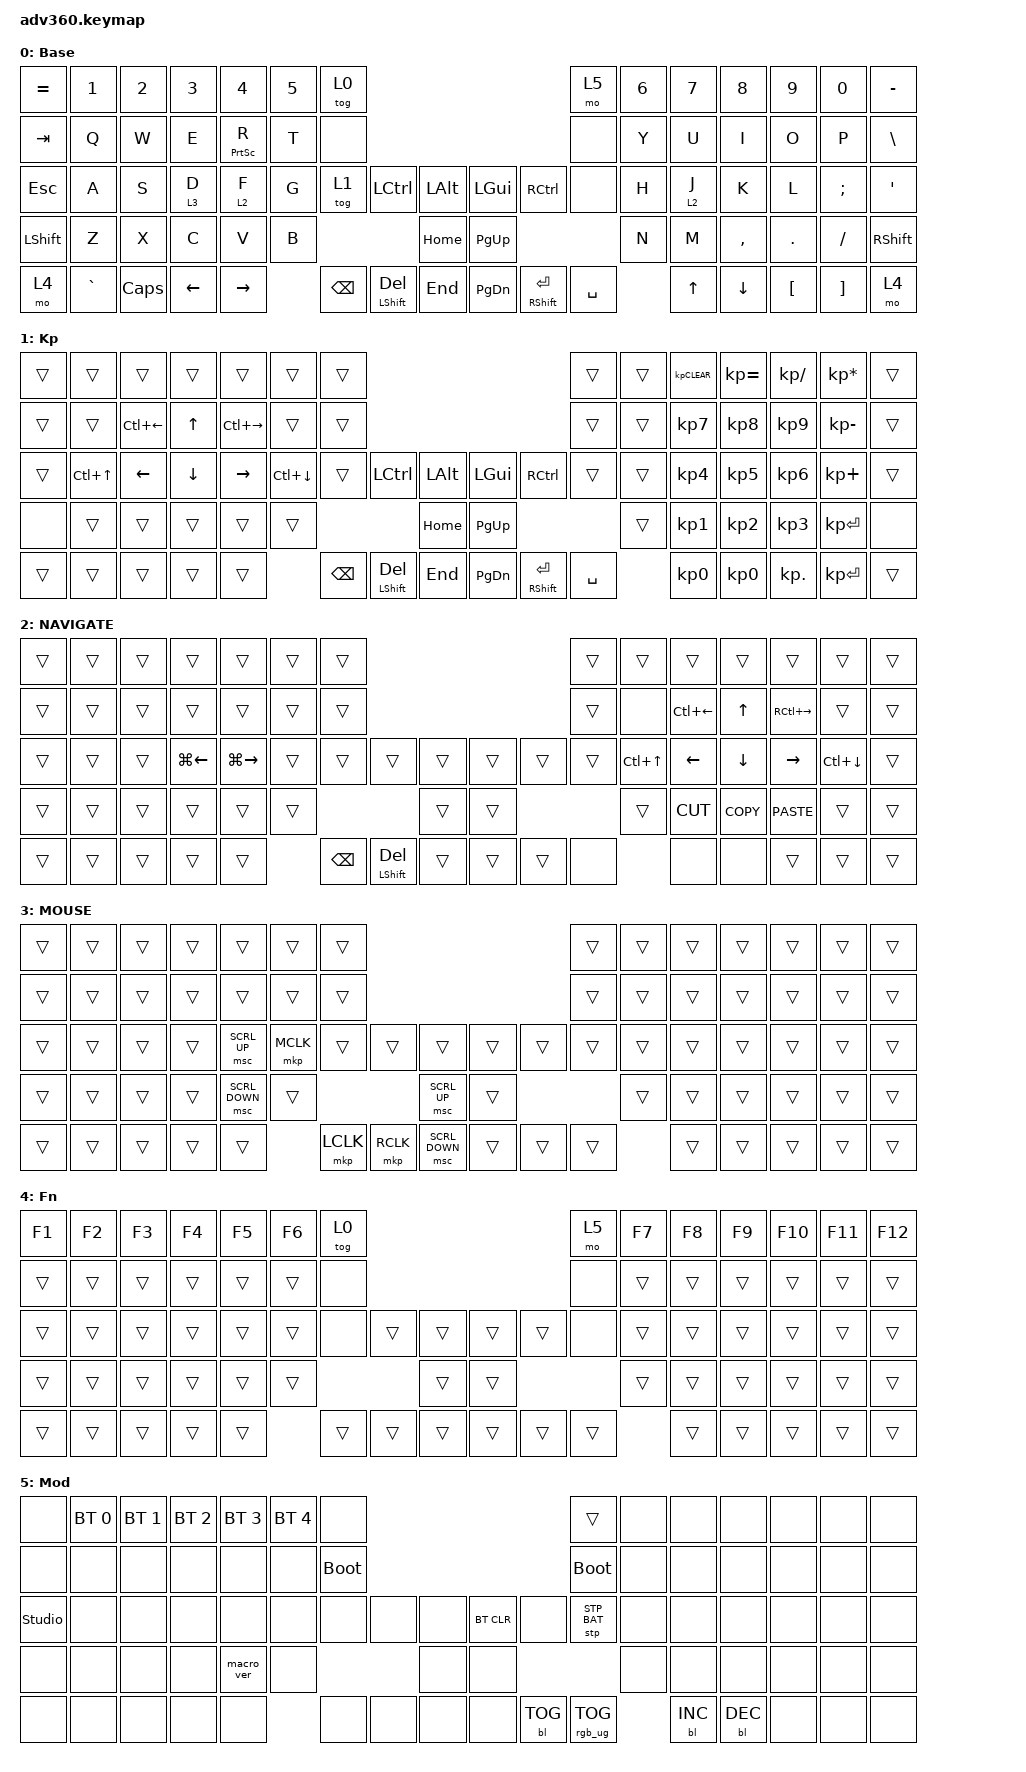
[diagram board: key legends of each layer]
#include <dt-bindings/zmk/stp.h>
#include <behaviors.dtsi>
#include <dt-bindings/zmk/backlight.h>
#include <dt-bindings/zmk/bt.h>
#include <dt-bindings/zmk/keys.h>
#include <dt-bindings/zmk/pointing.h>
#include <dt-bindings/zmk/rgb.h>

/ {
    behaviors {
        #include "macros.dtsi"
      #include "version.dtsi"

        hm: homerow_mods {
            compatible = "zmk,behavior-hold-tap";
            label = "HOMEROW_MODS";
            #binding-cells = <2>;
            tapping-term-ms = <200>;
            quick_tap_ms = <175>;
            flavor = "tap-preferred";
            bindings = <&kp>, <&kp>;
        };
    };

    keymap {
        compatible = "zmk,keymap";

        default_layer {
            display-name = "Base";
            bindings = <
&kp EQUAL  &kp N1     &kp N2    &kp N3    &kp N4             &kp N5  &tog 0                                                                           &mo 5      &kp N6  &kp N7   &kp N8     &kp N9    &kp N0    &kp MINUS
&kp TAB    &kp Q      &kp W     &kp E     &hm PRINTSCREEN R  &kp T   &none                                                                            &none      &kp Y   &kp U    &kp I      &kp O     &kp P     &kp BSLH
&kp ESC    &kp A      &kp S     &lt 3 D   &lt 2 F            &kp G   &tog 1    &kp LCTRL              &kp LALT      &kp LGUI   &kp RCTRL              &none      &kp H   &lt 2 J  &kp K      &kp L     &kp SEMI  &kp SQT
&kp LSHFT  &kp Z      &kp X     &kp C     &kp V              &kp B                                    &kp HOME      &kp PG_UP                                    &kp N   &kp M    &kp COMMA  &kp DOT   &kp FSLH  &kp RSHFT
&mo 4      &kp GRAVE  &kp CAPS  &kp LEFT  &kp RIGHT                  &kp BSPC  &hm LEFT_SHIFT DELETE  &kp END       &kp PG_DN  &hm RIGHT_SHIFT ENTER  &kp SPACE          &kp UP   &kp DOWN   &kp LBKT  &kp RBKT  &mo 4
            >;
        };

        KEYPAD {
            bindings = <
&trans  &trans            &trans        &trans        &trans         &trans        &trans                                                                               &trans     &trans  &kp KP_CLEAR     &kp KP_EQUAL     &kp KP_SLASH     &kp KP_MULTIPLY  &trans
&trans  &trans            &kp LC(LEFT)  &kp UP_ARROW  &kp LC(RIGHT)  &trans        &trans                                                                               &trans     &trans  &kp KP_NUMBER_7  &kp KP_NUMBER_8  &kp KP_NUMBER_9  &kp KP_MINUS     &trans
&trans  &kp LC(UP_ARROW)  &kp LEFT      &kp DOWN      &kp RIGHT      &kp LC(DOWN)  &trans    &kp LCTRL              &kp LALT      &kp LGUI       &kp RCTRL              &trans     &trans  &kp KP_NUMBER_4  &kp KP_NUMBER_5  &kp KP_NUMBER_6  &kp KP_PLUS      &trans
&none   &trans            &trans        &trans        &trans         &trans                                         &kp HOME      &kp PG_UP                                        &trans  &kp KP_NUMBER_1  &kp KP_NUMBER_2  &kp KP_NUMBER_3  &kp KP_ENTER     &none
&trans  &trans            &trans        &trans        &trans                       &kp BSPC  &hm LEFT_SHIFT DELETE  &kp END       &kp PAGE_DOWN  &hm RIGHT_SHIFT ENTER  &kp SPACE          &kp KP_NUMBER_0  &kp KP_NUMBER_0  &kp KP_DOT       &kp KP_ENTER     &trans
            >;

            label = "Kp";
        };

        NAVIGATE {
            bindings = <
&trans  &trans  &trans  &trans        &trans         &trans  &trans                                                            &trans  &trans            &trans              &trans          &trans           &trans        &trans
&trans  &trans  &trans  &trans        &trans         &trans  &trans                                                            &trans  &none             &kp LC(LEFT_ARROW)  &kp UP_ARROW    &kp RC(RIGHT)    &trans        &trans
&trans  &trans  &trans  &kp LG(LEFT)  &kp LG(RIGHT)  &trans  &trans         &trans                 &trans      &trans  &trans  &trans  &kp LC(UP_ARROW)  &kp LEFT_ARROW      &kp DOWN_ARROW  &kp RIGHT_ARROW  &kp LC(DOWN)  &trans
&trans  &trans  &trans  &trans        &trans         &trans                                        &trans      &trans                  &trans            &kp K_CUT           &kp K_COPY      &kp K_PASTE      &trans        &trans
&trans  &trans  &trans  &trans        &trans                 &kp BACKSPACE  &hm LEFT_SHIFT DELETE  &trans      &trans  &trans  &none                     &none               &none           &trans           &trans        &trans
            >;
        };

        MOUSE {
            bindings = <
&trans  &trans  &trans  &trans  &trans          &trans     &trans                                                    &trans  &trans  &trans  &trans  &trans  &trans  &trans
&trans  &trans  &trans  &trans  &trans          &trans     &trans                                                    &trans  &trans  &trans  &trans  &trans  &trans  &trans
&trans  &trans  &trans  &trans  &msc SCRL_UP    &mkp MCLK  &trans     &trans     &trans              &trans  &trans  &trans  &trans  &trans  &trans  &trans  &trans  &trans
&trans  &trans  &trans  &trans  &msc SCRL_DOWN  &trans                           &msc SCRL_UP        &trans                  &trans  &trans  &trans  &trans  &trans  &trans
&trans  &trans  &trans  &trans  &trans                     &mkp LCLK  &mkp RCLK  &msc SCRL_DOWN      &trans  &trans  &trans          &trans  &trans  &trans  &trans  &trans
            >;
        };

        fn {
            display-name = "Fn";
            bindings = <
&kp F1  &kp F2  &kp F3  &kp F4  &kp F5  &kp F6  &tog 0                                      &mo 5   &kp F7  &kp F8  &kp F9  &kp F10  &kp F11  &kp F12
&trans  &trans  &trans  &trans  &trans  &trans  &none                                       &none   &trans  &trans  &trans  &trans   &trans   &trans
&trans  &trans  &trans  &trans  &trans  &trans  &none   &trans  &trans      &trans  &trans  &none   &trans  &trans  &trans  &trans   &trans   &trans
&trans  &trans  &trans  &trans  &trans  &trans                  &trans      &trans                  &trans  &trans  &trans  &trans   &trans   &trans
&trans  &trans  &trans  &trans  &trans          &trans  &trans  &trans      &trans  &trans  &trans          &trans  &trans  &trans   &trans   &trans
            >;
        };

        mod {
            display-name = "Mod";
            bindings = <
&none           &bt BT_SEL 0  &bt BT_SEL 1  &bt BT_SEL 2  &bt BT_SEL 3  &bt BT_SEL 4  &none                                                  &trans           &none  &none       &none       &none  &none  &none
&none           &none         &none         &none         &none         &none         &bootloader                                            &bootloader      &none  &none       &none       &none  &none  &none
&studio_unlock  &none         &none         &none         &none         &none         &none        &none  &none      &bt BT_CLR  &none       &stp STP_BAT     &none  &none       &none       &none  &none  &none
&none           &none         &none         &none         &macro_ver    &none                             &none      &none                                    &none  &none       &none       &none  &none  &none
&none           &none         &none         &none         &none                       &none        &none  &none      &none       &bl BL_TOG  &rgb_ug RGB_TOG         &bl BL_INC  &bl BL_DEC  &none  &none  &none
            >;
        };
    };
};
